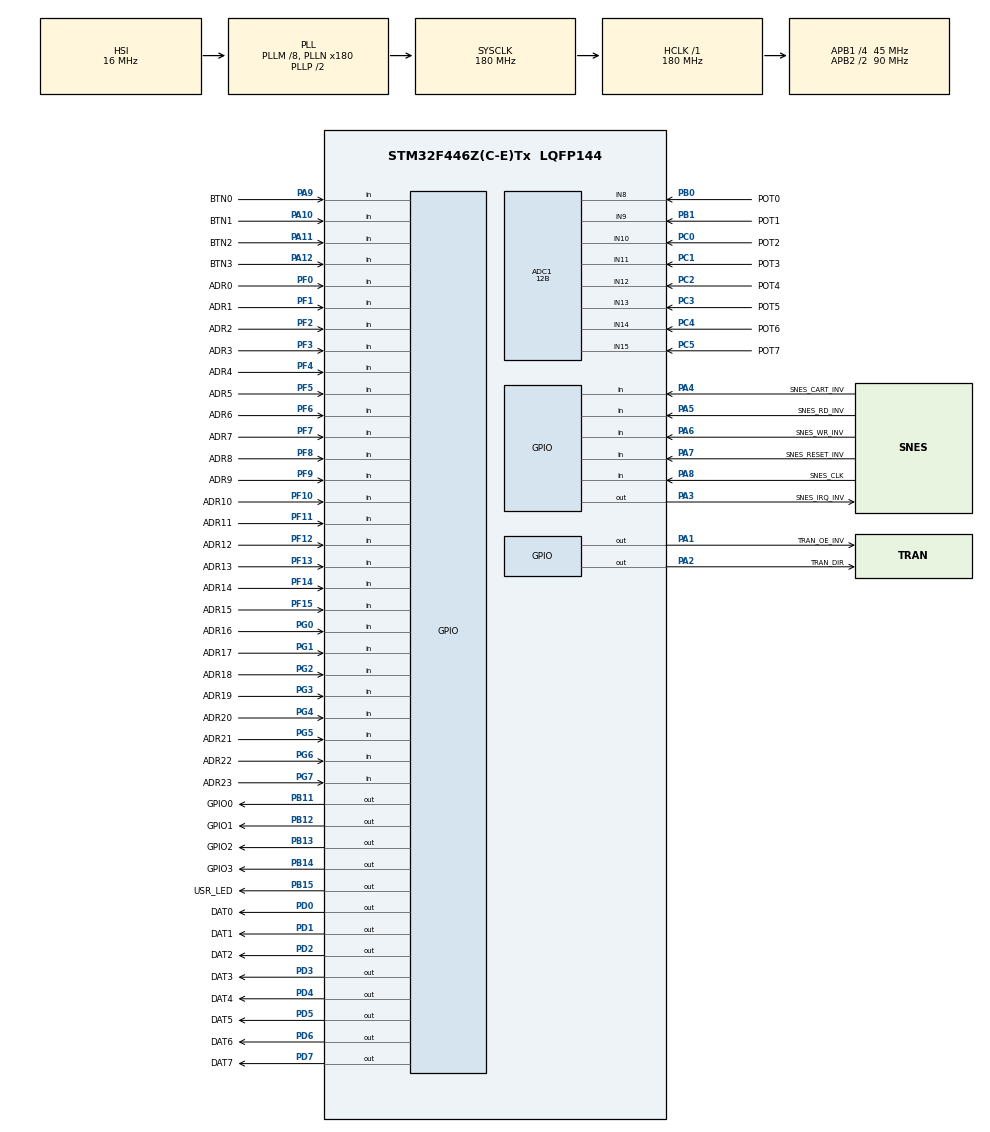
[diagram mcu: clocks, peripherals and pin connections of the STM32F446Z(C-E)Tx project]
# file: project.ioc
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ADC1.Channel-10\#ChannelRegularConversion=ADC_CHANNEL_15
ADC1.Channel-3\#ChannelRegularConversion=ADC_CHANNEL_8
ADC1.Channel-4\#ChannelRegularConversion=ADC_CHANNEL_9
ADC1.Channel-5\#ChannelRegularConversion=ADC_CHANNEL_10
ADC1.Channel-6\#ChannelRegularConversion=ADC_CHANNEL_11
ADC1.Channel-7\#ChannelRegularConversion=ADC_CHANNEL_12
ADC1.Channel-8\#ChannelRegularConversion=ADC_CHANNEL_13
ADC1.Channel-9\#ChannelRegularConversion=ADC_CHANNEL_14
ADC1.ClockPrescaler=ADC_CLOCK_SYNC_PCLK_DIV4
ADC1.ContinuousConvMode=ENABLE
ADC1.DMAContinuousRequests=ENABLE
ADC1.DataAlign=ADC_DATAALIGN_RIGHT
ADC1.DiscontinuousConvMode=DISABLE
ADC1.EOCSelection=ADC_EOC_SINGLE_CONV
ADC1.EnableAnalogWatchDog=false
ADC1.ExternalTrigConv=ADC_SOFTWARE_START
ADC1.ExternalTrigConvEdge=ADC_EXTERNALTRIGCONVEDGE_NONE
ADC1.InjNumberOfConversion=0
ADC1.NbrOfConversion=8
ADC1.NbrOfConversionFlag=1
ADC1.Rank-10\#ChannelRegularConversion=8
ADC1.Rank-3\#ChannelRegularConversion=1
ADC1.Rank-4\#ChannelRegularConversion=2
ADC1.Rank-5\#ChannelRegularConversion=3
ADC1.Rank-6\#ChannelRegularConversion=4
ADC1.Rank-7\#ChannelRegularConversion=5
ADC1.Rank-8\#ChannelRegularConversion=6
ADC1.Rank-9\#ChannelRegularConversion=7
ADC1.Resolution=ADC_RESOLUTION_12B
ADC1.SamplingTime-10\#ChannelRegularConversion=ADC_SAMPLETIME_480CYCLES
ADC1.SamplingTime-3\#ChannelRegularConversion=ADC_SAMPLETIME_480CYCLES
ADC1.SamplingTime-4\#ChannelRegularConversion=ADC_SAMPLETIME_480CYCLES
ADC1.SamplingTime-5\#ChannelRegularConversion=ADC_SAMPLETIME_480CYCLES
ADC1.SamplingTime-6\#ChannelRegularConversion=ADC_SAMPLETIME_480CYCLES
ADC1.SamplingTime-7\#ChannelRegularConversion=ADC_SAMPLETIME_480CYCLES
ADC1.SamplingTime-8\#ChannelRegularConversion=ADC_SAMPLETIME_480CYCLES
ADC1.SamplingTime-9\#ChannelRegularConversion=ADC_SAMPLETIME_480CYCLES
ADC1.ScanConvMode=ENABLE
ADC1.master=1
Dma.ADC1.0.Direction=DMA_PERIPH_TO_MEMORY
Dma.ADC1.0.FIFOMode=DMA_FIFOMODE_DISABLE
Dma.ADC1.0.Instance=DMA2_Stream0
Dma.ADC1.0.MemDataAlignment=DMA_MDATAALIGN_WORD
Dma.ADC1.0.MemInc=DMA_MINC_ENABLE
Dma.ADC1.0.Mode=DMA_CIRCULAR
Dma.ADC1.0.PeriphDataAlignment=DMA_PDATAALIGN_WORD
Dma.ADC1.0.PeriphInc=DMA_PINC_DISABLE
Dma.ADC1.0.Priority=DMA_PRIORITY_LOW
Dma.Request0=ADC1
Mcu.Family=STM32F4
Mcu.Name=STM32F446Z(C-E)Tx
Mcu.Package=LQFP144
NVIC.DMA2_Stream0_IRQn=true\:0\:0\:false\:false\:true\:false
NVIC.PriorityGroup=NVIC_PRIORITYGROUP_4
PA1.GPIO_Label=TRAN_OE_INV
PA1.GPIO_Speed=GPIO_SPEED_FREQ_VERY_HIGH
PA1.PinState=GPIO_PIN_SET
PA1.Signal=GPIO_Output
PA10.GPIO_Label=BTN1
PA10.Signal=GPIO_Input
PA11.GPIO_Label=BTN2
PA11.Signal=GPIO_Input
PA12.GPIO_Label=BTN3
PA12.Signal=GPIO_Input
PA13.GPIO_Label=SWDIO
PA13.Mode=Serial_Wire
PA13.Signal=SYS_JTMS-SWDIO
PA14.GPIO_Label=SWCK
PA14.Mode=Serial_Wire
PA14.Signal=SYS_JTCK-SWCLK
PA2.GPIO_Label=TRAN_DIR
PA2.GPIO_Speed=GPIO_SPEED_FREQ_VERY_HIGH
PA2.PinState=GPIO_PIN_SET
PA2.Signal=GPIO_Output
PA3.GPIO_Label=SNES_IRQ_INV
PA3.GPIO_Speed=GPIO_SPEED_FREQ_VERY_HIGH
PA3.PinState=GPIO_PIN_SET
PA3.Signal=GPIO_Output
PA4.GPIO_Label=SNES_CART_INV
PA4.Signal=GPIO_Input
PA5.GPIO_Label=SNES_RD_INV
PA5.Signal=GPIO_Input
PA6.GPIO_Label=SNES_WR_INV
PA6.Signal=GPIO_Input
PA7.GPIO_Label=SNES_RESET_INV
PA7.Signal=GPIO_Input
PA8.GPIO_Label=SNES_CLK
PA8.Signal=GPIO_Input
PA9.GPIO_Label=BTN0
PA9.Signal=GPIO_Input
PB0.GPIO_Label=POT0
PB0.Signal=ADCx_IN8
PB1.GPIO_Label=POT1
PB1.Signal=ADCx_IN9
PB11.GPIO_Label=GPIO0
PB11.GPIO_PuPd=GPIO_PULLUP
PB11.PinState=GPIO_PIN_SET
PB11.Signal=GPIO_Output
PB12.GPIO_Label=GPIO1
PB12.GPIO_PuPd=GPIO_PULLUP
PB12.PinState=GPIO_PIN_SET
PB12.Signal=GPIO_Output
PB13.GPIO_Label=GPIO2
PB13.GPIO_PuPd=GPIO_PULLUP
PB13.PinState=GPIO_PIN_SET
PB13.Signal=GPIO_Output
PB14.GPIO_Label=GPIO3
PB14.GPIO_PuPd=GPIO_PULLUP
PB14.PinState=GPIO_PIN_SET
PB14.Signal=GPIO_Output
PB15.GPIO_Label=USR_LED
PB15.GPIO_ModeDefaultOutputPP=GPIO_MODE_OUTPUT_PP
PB15.GPIO_PuPd=GPIO_PULLUP
PB15.PinState=GPIO_PIN_SET
PB15.Signal=GPIO_Output
PC0.GPIO_Label=POT2
PC0.Signal=ADCx_IN10
PC1.GPIO_Label=POT3
PC1.Signal=ADCx_IN11
PC2.GPIO_Label=POT4
PC2.Signal=ADCx_IN12
PC3.GPIO_Label=POT5
PC3.Signal=ADCx_IN13
PC4.GPIO_Label=POT6
PC4.Signal=ADCx_IN14
PC5.GPIO_Label=POT7
PC5.Signal=ADCx_IN15
PD0.GPIO_Label=DAT0
PD0.GPIO_Speed=GPIO_SPEED_FREQ_VERY_HIGH
PD0.PinState=GPIO_PIN_SET
PD0.Signal=GPIO_Output
PD1.GPIO_Label=DAT1
PD1.GPIO_Speed=GPIO_SPEED_FREQ_VERY_HIGH
PD1.PinState=GPIO_PIN_SET
PD1.Signal=GPIO_Output
PD2.GPIO_Label=DAT2
PD2.GPIO_Speed=GPIO_SPEED_FREQ_VERY_HIGH
PD2.PinState=GPIO_PIN_SET
PD2.Signal=GPIO_Output
PD3.GPIO_Label=DAT3
PD3.GPIO_Speed=GPIO_SPEED_FREQ_VERY_HIGH
PD3.PinState=GPIO_PIN_SET
PD3.Signal=GPIO_Output
PD4.GPIO_Label=DAT4
PD4.GPIO_Speed=GPIO_SPEED_FREQ_VERY_HIGH
PD4.PinState=GPIO_PIN_SET
PD4.Signal=GPIO_Output
PD5.GPIO_Label=DAT5
PD5.GPIO_Speed=GPIO_SPEED_FREQ_VERY_HIGH
PD5.PinState=GPIO_PIN_SET
PD5.Signal=GPIO_Output
PD6.GPIO_Label=DAT6
PD6.GPIO_Speed=GPIO_SPEED_FREQ_VERY_HIGH
PD6.PinState=GPIO_PIN_SET
PD6.Signal=GPIO_Output
PD7.GPIO_Label=DAT7
PD7.GPIO_Speed=GPIO_SPEED_FREQ_VERY_HIGH
PD7.PinState=GPIO_PIN_SET
PD7.Signal=GPIO_Output
PF0.GPIO_Label=ADR0
PF0.Signal=GPIO_Input
PF1.GPIO_Label=ADR1
PF1.Signal=GPIO_Input
PF10.GPIO_Label=ADR10
PF10.Signal=GPIO_Input
PF11.GPIO_Label=ADR11
PF11.Signal=GPIO_Input
PF12.GPIO_Label=ADR12
PF12.Signal=GPIO_Input
PF13.GPIO_Label=ADR13
PF13.Signal=GPIO_Input
PF14.GPIO_Label=ADR14
PF14.Signal=GPIO_Input
PF15.GPIO_Label=ADR15
PF15.Signal=GPIO_Input
PF2.GPIO_Label=ADR2
PF2.Signal=GPIO_Input
PF3.GPIO_Label=ADR3
PF3.Signal=GPIO_Input
PF4.GPIO_Label=ADR4
PF4.Signal=GPIO_Input
PF5.GPIO_Label=ADR5
PF5.Signal=GPIO_Input
PF6.GPIO_Label=ADR6
PF6.Signal=GPIO_Input
PF7.GPIO_Label=ADR7
PF7.Signal=GPIO_Input
PF8.GPIO_Label=ADR8
PF8.Signal=GPIO_Input
PF9.GPIO_Label=ADR9
PF9.Signal=GPIO_Input
PG0.GPIO_Label=ADR16
PG0.Signal=GPIO_Input
PG1.GPIO_Label=ADR17
PG1.Signal=GPIO_Input
PG2.GPIO_Label=ADR18
PG2.Signal=GPIO_Input
PG3.GPIO_Label=ADR19
PG3.Signal=GPIO_Input
PG4.GPIO_Label=ADR20
PG4.Signal=GPIO_Input
PG5.GPIO_Label=ADR21
PG5.Signal=GPIO_Input
PG6.GPIO_Label=ADR22
PG6.Signal=GPIO_Input
PG7.GPIO_Label=ADR23
PG7.Signal=GPIO_Input
ProjectManager.HeapSize=0x200
ProjectManager.StackSize=0x400
ProjectManager.TargetToolchain=MDK-ARM V5
RCC.AHBFreq_Value=180000000
RCC.APB1CLKDivider=RCC_HCLK_DIV4
RCC.APB1Freq_Value=45000000
RCC.APB1TimFreq_Value=90000000
RCC.APB2CLKDivider=RCC_HCLK_DIV2
RCC.APB2Freq_Value=90000000
RCC.APB2TimFreq_Value=180000000
RCC.CortexFreq_Value=180000000
RCC.HCLKFreq_Value=180000000
RCC.PLLM=8
RCC.PLLN=180
RCC.SYSCLKFreq_VALUE=180000000
RCC.SYSCLKSource=RCC_SYSCLKSOURCE_PLLCLK
RCC.USBFreq_Value=180000000
RCC.VCOOutputFreq_Value=360000000
SH.ADCx_IN10.0=ADC1_IN10,IN10
SH.ADCx_IN11.0=ADC1_IN11,IN11
SH.ADCx_IN12.0=ADC1_IN12,IN12
SH.ADCx_IN13.0=ADC1_IN13,IN13
SH.ADCx_IN14.0=ADC1_IN14,IN14
SH.ADCx_IN15.0=ADC1_IN15,IN15
SH.ADCx_IN8.0=ADC1_IN8,IN8
SH.ADCx_IN9.0=ADC1_IN9,IN9
board=custom

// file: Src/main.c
/**
  ******************************************************************************
  * @file           : main.c
  * @brief          : Main program body
  ******************************************************************************
  ** This notice applies to any and all portions of this file
  * that are not between comment pairs USER CODE BEGIN and
  * USER CODE END. Other portions of this file, whether
  * inserted by the user or by software development tools
  * are owned by their respective copyright owners.
  *
  * COPYRIGHT(c) 2019 STMicroelectronics
  *
  * Redistribution and use in source and binary forms, with or without modification,
  * are permitted provided that the following conditions are met:
  *   1. Redistributions of source code must retain the above copyright notice,
  *      this list of conditions and the following disclaimer.
  *   2. Redistributions in binary form must reproduce the above copyright notice,
  *      this list of conditions and the following disclaimer in the documentation
  *      and/or other materials provided with the distribution.
  *   3. Neither the name of STMicroelectronics nor the names of its contributors
  *      may be used to endorse or promote products derived from this software
  *      without specific prior written permission.
  *
  * THIS SOFTWARE IS PROVIDED BY THE COPYRIGHT HOLDERS AND CONTRIBUTORS "AS IS"
  * AND ANY EXPRESS OR IMPLIED WARRANTIES, INCLUDING, BUT NOT LIMITED TO, THE
  * IMPLIED WARRANTIES OF MERCHANTABILITY AND FITNESS FOR A PARTICULAR PURPOSE ARE
  * DISCLAIMED. IN NO EVENT SHALL THE COPYRIGHT HOLDER OR CONTRIBUTORS BE LIABLE
  * FOR ANY DIRECT, INDIRECT, INCIDENTAL, SPECIAL, EXEMPLARY, OR CONSEQUENTIAL
  * DAMAGES (INCLUDING, BUT NOT LIMITED TO, PROCUREMENT OF SUBSTITUTE GOODS OR
  * SERVICES; LOSS OF USE, DATA, OR PROFITS; OR BUSINESS INTERRUPTION) HOWEVER
  * CAUSED AND ON ANY THEORY OF LIABILITY, WHETHER IN CONTRACT, STRICT LIABILITY,
  * OR TORT (INCLUDING NEGLIGENCE OR OTHERWISE) ARISING IN ANY WAY OUT OF THE USE
  * OF THIS SOFTWARE, EVEN IF ADVISED OF THE POSSIBILITY OF SUCH DAMAGE.
  *
  ******************************************************************************
  */
#include "main.h"
#include "stm32f4xx_hal.h"
#include "adc.h"
#include "dma.h"
#include "gpio.h"

/* USER CODE BEGIN Includes */
#include "rom_bank_0.h"

#define SNES_IRQ_OFF 0xFFFF0008U
#define TRANS_SNES_2_CART 0xFFFF000CU
#define SNES_CART_OFF 0xFFFF0010U

#define MISC_PORT_REG_WR GPIOA->BSRR
#define MISC_PORT_REG_RD GPIOA->IDR
#define ADDR_PORT_REG_RD GPIOF->IDR
#define DATA_PORT_REG_WR GPIOD->BSRR

#define RST_VEC_LOC_LO 0x0000FFFCU
#define RST_VEC_LOC_HI 0x0000FFFDU
#define RST_VEC_BYT_LO 0xFFFF0000U
#define RST_VEC_BYT_HI 0xFFFF0088U
#define NMI_VEC_LOC_LO 0x0000FFEAU
#define NMI_VEC_LOC_HI 0x0000FFEBU
#define NMI_VEC_BYT_LO 0xFFFF0000U
#define NMI_VEC_BYT_HI 0xFFFF001EU

/* USER CODE END Includes */

/* USER CODE BEGIN PV */
/* Private variables ---------------------------------------------------------*/

uint8_t i = 0;
uint16_t temp = 0;

/* USER CODE END PV */

void SystemClock_Config(void);

/* USER CODE BEGIN PFP */
/* Private function prototypes -----------------------------------------------*/

/* USER CODE END PFP */

/* USER CODE BEGIN 0 */
volatile uint8_t adc[16];
volatile uint32_t adc_32[8];
volatile uint32_t adc_prev11_32;
volatile uint32_t adc_prev21_32;
volatile uint32_t adc_prev31_32;
volatile uint32_t adc_prev41_32;
volatile uint32_t adc_prev51_32;
volatile uint32_t adc_prev61_32;
volatile uint32_t adc_prev71_32;
volatile uint32_t adc_prev81_32;
volatile uint32_t adc_prev91_32;
volatile uint32_t adc_prev101_32;
volatile uint32_t adc_prev111_32;
volatile uint32_t adc_prev121_32;
volatile uint32_t adc_now1_32;

volatile uint32_t adc_prev12_32;
volatile uint32_t adc_prev22_32;
volatile uint32_t adc_prev32_32;
volatile uint32_t adc_prev42_32;
volatile uint32_t adc_prev52_32;
volatile uint32_t adc_prev62_32;
volatile uint32_t adc_prev72_32;
volatile uint32_t adc_prev82_32;
volatile uint32_t adc_prev92_32;
volatile uint32_t adc_prev102_32;
volatile uint32_t adc_prev112_32;
volatile uint32_t adc_prev122_32;
volatile uint32_t adc_now2_32;

volatile uint32_t adc_prev13_32;
volatile uint32_t adc_prev23_32;
volatile uint32_t adc_prev33_32;
volatile uint32_t adc_prev43_32;
volatile uint32_t adc_prev53_32;
volatile uint32_t adc_prev63_32;
volatile uint32_t adc_prev73_32;
volatile uint32_t adc_prev83_32;
volatile uint32_t adc_prev93_32;
volatile uint32_t adc_prev103_32;
volatile uint32_t adc_prev113_32;
volatile uint32_t adc_prev123_32;
volatile uint32_t adc_now3_32;

volatile uint32_t adc_prev14_32;
volatile uint32_t adc_prev24_32;
volatile uint32_t adc_prev34_32;
volatile uint32_t adc_prev44_32;
volatile uint32_t adc_prev54_32;
volatile uint32_t adc_prev64_32;
volatile uint32_t adc_prev74_32;
volatile uint32_t adc_prev84_32;
volatile uint32_t adc_prev94_32;
volatile uint32_t adc_prev104_32;
volatile uint32_t adc_prev114_32;
volatile uint32_t adc_prev124_32;
volatile uint32_t adc_now4_32;

void HAL_ADC_ConvCpltCallback(ADC_HandleTypeDef* hadc)
{

		//adc[0] = adc_32[0];
	/*
		adc[1] = adc_32[0] & 0xFF;
		adc[2] = adc_32[1] >> 8;
		adc[3] = adc_32[1] & 0xFF;
		adc[4] = adc_32[2] >> 8;
		adc[5] = adc_32[2] & 0xFF;
		adc[6] = adc_32[3] >> 8;
		adc[7] = adc_32[3] & 0xFF;
*/

}

/* USER CODE END 0 */

int main(void)
{

  /* MCU Configuration----------------------------------------------------------*/

  /* Reset of all peripherals, Initializes the Flash interface and the Systick. */
  HAL_Init();

  /* Configure the system clock */
  SystemClock_Config();

  /* Initialize all configured peripherals */
  MX_GPIO_Init();
  MX_DMA_Init();
  MX_ADC1_Init();
  /* USER CODE BEGIN 2 */

	HAL_ADC_Start_DMA(&hadc1,adc_32,8);

	//adc[0] = 0x01;
	//adc[1] = 0x00;

	adc[2] = 0x00;
	adc[3] = 0x00;
	/*
	adc[4] = 0x01;
	adc[5] = 0x00;
	adc[6] = 0x01;
	adc[7] = 0x00;
	*/

	__disable_irq();

	IWDG->KR = ((uint16_t)0xAAAA);	// Watchdog no bark

  MISC_PORT_REG_WR = SNES_IRQ_OFF; // TRANSCEIVER CART TO SNES (and disable IRQ line)

  while(GPIOF->IDR != RST_VEC_LOC_LO){}
  DATA_PORT_REG_WR = RST_VEC_BYT_LO;
  while(GPIOF->IDR != RST_VEC_LOC_HI){}
  DATA_PORT_REG_WR = RST_VEC_BYT_HI;
	DATA_PORT_REG_WR = RST_VEC_BYT_HI;
	DATA_PORT_REG_WR = RST_VEC_BYT_HI;

  /* USER CODE END 2 */

  /* Infinite loop */
  while (1)
  {

  /* USER CODE BEGIN 3 */

		if((MISC_PORT_REG_RD & SNES_CART_OFF))
    {
      MISC_PORT_REG_WR = TRANS_SNES_2_CART; // TRANSCEIVER SNES TO CART
      while(MISC_PORT_REG_RD & SNES_CART_OFF){}
      MISC_PORT_REG_WR = SNES_IRQ_OFF; // TRANSCEIVER CART TO SNES
    }
		else
		{
		  //MISC_PORT_REG_WR = SNES_IRQ_OFF; // TRANSCEIVER CART TO SNES
			temp = (ADDR_PORT_REG_RD & 0x00007FFFU);

			if(temp < 0x4FFFU)
			{
				DATA_PORT_REG_WR = (0xFFFF0000 | rom_bank_0[temp]);
			}
			else
			{
				if(temp == 0x7FEAU)
					DATA_PORT_REG_WR = (0xFFFF0000 | rom_bank_0[0x4FEAU]);

				if(temp == 0x7FEBU)
				{
					DATA_PORT_REG_WR = (0xFFFF0000 | rom_bank_0[0x4FEBU]);
					while(!(MISC_PORT_REG_RD & SNES_CART_OFF)){}
						MISC_PORT_REG_WR = TRANS_SNES_2_CART; // TRANSCEIVER SNES TO CART

						adc_prev11_32 = adc_prev21_32;
						adc_prev21_32 = adc_prev31_32;
						adc_prev31_32 = adc_prev41_32;
						adc_prev41_32 = adc_prev51_32;
						adc_prev51_32 = adc_prev61_32;
						adc_prev61_32 = adc_prev71_32;
						adc_prev71_32 = adc_prev81_32;
						adc_prev81_32 = adc_prev91_32;
						adc_prev91_32 = adc_prev101_32;
						adc_prev101_32 = adc_prev111_32;
						adc_prev111_32 = adc_prev121_32;
						adc_prev121_32 = adc_32[0];

						adc_now1_32 = (adc_prev11_32 + adc_prev21_32 + adc_prev31_32 + adc_prev41_32 + adc_prev51_32 + adc_prev61_32 + adc_prev71_32 + adc_prev81_32 + adc_prev91_32 + adc_prev101_32 + adc_prev111_32 + adc_prev121_32)/12;

						//rom_bank_0[17413] = adc[0];					// Freq1 HI
				//rom_bank_0[17412] = adc[1];					// Freq1 LO
						//adc_32[0] = (adc_32[0] + adc_prev_32[0]) / 2;
						//adc_prev_32[0] = adc_32[0];

						rom_bank_0[17413] = (uint8_t)((adc_now1_32 / 1) >> 8);
						rom_bank_0[17412] = (uint8_t)((adc_now1_32 / 1) & 0xFF);

						adc_prev12_32 = adc_prev22_32;
						adc_prev22_32 = adc_prev32_32;
						adc_prev32_32 = adc_prev42_32;
						adc_prev42_32 = adc_prev52_32;
						adc_prev52_32 = adc_prev62_32;
						adc_prev62_32 = adc_prev72_32;
						adc_prev72_32 = adc_prev82_32;
						adc_prev82_32 = adc_prev92_32;
						adc_prev92_32 = adc_prev102_32;
						adc_prev102_32 = adc_prev112_32;
						adc_prev112_32 = adc_prev122_32;
						adc_prev122_32 = adc_32[1];

						adc_now2_32 = (adc_prev12_32 + adc_prev22_32 + adc_prev32_32 + adc_prev42_32 + adc_prev52_32 + adc_prev62_32 + adc_prev72_32 + adc_prev82_32 + adc_prev92_32 + adc_prev102_32 + adc_prev112_32 + adc_prev122_32)/12;

				//rom_bank_0[17424] = adc[2];					// Freq2 HI
				//rom_bank_0[17423] = adc[3];					// Freq2 LO

				    adc_prev13_32 = adc_prev23_32;
						adc_prev23_32 = adc_prev33_32;
						adc_prev33_32 = adc_prev43_32;
						adc_prev43_32 = adc_prev53_32;
						adc_prev53_32 = adc_prev63_32;
						adc_prev63_32 = adc_prev73_32;
						adc_prev73_32 = adc_prev83_32;
						adc_prev83_32 = adc_prev93_32;
						adc_prev93_32 = adc_prev103_32;
						adc_prev103_32 = adc_prev113_32;
						adc_prev113_32 = adc_prev123_32;
						adc_prev123_32 = adc_32[2];

						adc_now3_32 = (adc_prev13_32 + adc_prev23_32 + adc_prev33_32 + adc_prev43_32 + adc_prev53_32 + adc_prev63_32 + adc_prev73_32 + adc_prev83_32 + adc_prev93_32 + adc_prev103_32 + adc_prev113_32 + adc_prev123_32)/12;

						rom_bank_0[17424] = (uint8_t)((adc_now2_32 / 1) >> 8);
						rom_bank_0[17423] = (uint8_t)((adc_now2_32 / 1) & 0xFF);

				//rom_bank_0[17435] = adc[4];					// Freq3 HI
				//rom_bank_0[17434] = adc[5];					// Freq3 LO

						rom_bank_0[17435] = (uint8_t)((adc_now3_32 / 8) >> 8);
						rom_bank_0[17434] = (uint8_t)((adc_now3_32 / 8) & 0xFF);

				//						rom_bank_0[17446] = adc[6];					// Freq4 HI
				//rom_bank_0[17445] = adc[7];					// Freq4 LO

				adc_prev14_32 = adc_prev24_32;
						adc_prev24_32 = adc_prev34_32;
						adc_prev34_32 = adc_prev44_32;
						adc_prev44_32 = adc_prev54_32;
						adc_prev54_32 = adc_prev64_32;
						adc_prev64_32 = adc_prev74_32;
						adc_prev74_32 = adc_prev84_32;
						adc_prev84_32 = adc_prev94_32;
						adc_prev94_32 = adc_prev104_32;
						adc_prev104_32 = adc_prev114_32;
						adc_prev114_32 = adc_prev124_32;
						adc_prev124_32 = adc_32[3];

						adc_now4_32 = (adc_prev14_32 + adc_prev24_32 + adc_prev34_32 + adc_prev44_32 + adc_prev54_32 + adc_prev64_32 + adc_prev74_32 + adc_prev84_32 + adc_prev94_32 + adc_prev104_32 + adc_prev114_32 + adc_prev124_32)/12;

				rom_bank_0[17446] = (uint8_t)((adc_now4_32 / 8) >> 8);
						rom_bank_0[17445] = (uint8_t)((adc_now4_32 / 8) & 0xFF);

						adc[0] = (adc_now1_32 >> 4) & 0xFFU;

						if (adc[0] < 0x0FU)
							adc[0] = 0x0FU;

						if (adc[0] > 0x7FU)
							adc[0] = 0x7FU;

						rom_bank_0[17410] = adc[0];
						rom_bank_0[17411] = adc[0];
						/*
						adc[1] = adc_now2_32 >> 4;

						if (adc[1] < 0x0FU)
							adc[1] = 0x0F;

						if (adc[1] > 0x7FU)
							adc[1] = 0x7F;

						rom_bank_0[17421] = adc[1];

						rom_bank_0[17422] = adc[1];

						adc[2] = adc_now3_32 >> 4;

						if (adc[2] < 0x0FU)
							adc[2] = 0x0F;

						if (adc[2] > 0x7FU)
							adc[2] = 0x7F;

						rom_bank_0[17432] = adc[2];
						rom_bank_0[17433] = adc[2];

						adc[3] = adc_now4_32 >> 4;

						if (adc[3] < 0x0FU)
							adc[3] = 0x0F;

						if (adc[3] > 0x7FU)
							adc[3] = 0x7F;

						rom_bank_0[17443] = adc[3];
						rom_bank_0[17444] = adc[3];
						*/

      while(MISC_PORT_REG_RD & SNES_CART_OFF){}
      MISC_PORT_REG_WR = SNES_IRQ_OFF; // TRANSCEIVER CART TO SNES

				}

			}

		}

  }
  /* USER CODE END 3 */

}

void SystemClock_Config(void)
{

  RCC_OscInitTypeDef RCC_OscInitStruct;
  RCC_ClkInitTypeDef RCC_ClkInitStruct;

    /**Configure the main internal regulator output voltage
    */
  __HAL_RCC_PWR_CLK_ENABLE();

  __HAL_PWR_VOLTAGESCALING_CONFIG(PWR_REGULATOR_VOLTAGE_SCALE1);

    /**Initializes the CPU, AHB and APB busses clocks
    */
  RCC_OscInitStruct.OscillatorType = RCC_OSCILLATORTYPE_HSI;
  RCC_OscInitStruct.HSIState = RCC_HSI_ON;
  RCC_OscInitStruct.HSICalibrationValue = 16;
  RCC_OscInitStruct.PLL.PLLState = RCC_PLL_ON;
  RCC_OscInitStruct.PLL.PLLSource = RCC_PLLSOURCE_HSI;
  RCC_OscInitStruct.PLL.PLLM = 8;
  RCC_OscInitStruct.PLL.PLLN = 180;
  RCC_OscInitStruct.PLL.PLLP = RCC_PLLP_DIV2;
  RCC_OscInitStruct.PLL.PLLQ = 2;
  RCC_OscInitStruct.PLL.PLLR = 2;
  if (HAL_RCC_OscConfig(&RCC_OscInitStruct) != HAL_OK)
  {
    _Error_Handler(__FILE__, __LINE__);
  }

    /**Activate the Over-Drive mode
    */
  if (HAL_PWREx_EnableOverDrive() != HAL_OK)
  {
    _Error_Handler(__FILE__, __LINE__);
  }

    /**Initializes the CPU, AHB and APB busses clocks
    */
  RCC_ClkInitStruct.ClockType = RCC_CLOCKTYPE_HCLK|RCC_CLOCKTYPE_SYSCLK
                              |RCC_CLOCKTYPE_PCLK1|RCC_CLOCKTYPE_PCLK2;
  RCC_ClkInitStruct.SYSCLKSource = RCC_SYSCLKSOURCE_PLLCLK;
  RCC_ClkInitStruct.AHBCLKDivider = RCC_SYSCLK_DIV1;
  RCC_ClkInitStruct.APB1CLKDivider = RCC_HCLK_DIV4;
  RCC_ClkInitStruct.APB2CLKDivider = RCC_HCLK_DIV2;

  if (HAL_RCC_ClockConfig(&RCC_ClkInitStruct, FLASH_LATENCY_5) != HAL_OK)
  {
    _Error_Handler(__FILE__, __LINE__);
  }

    /**Configure the Systick interrupt time
    */
  HAL_SYSTICK_Config(HAL_RCC_GetHCLKFreq()/1000);

    /**Configure the Systick
    */
  HAL_SYSTICK_CLKSourceConfig(SYSTICK_CLKSOURCE_HCLK);

  /* SysTick_IRQn interrupt configuration */
  HAL_NVIC_SetPriority(SysTick_IRQn, 0, 0);
}

void _Error_Handler(char *file, int line)
{
  while(1)
  {
  }
}

/************************ (C) COPYRIGHT STMicroelectronics *****END OF FILE****/
